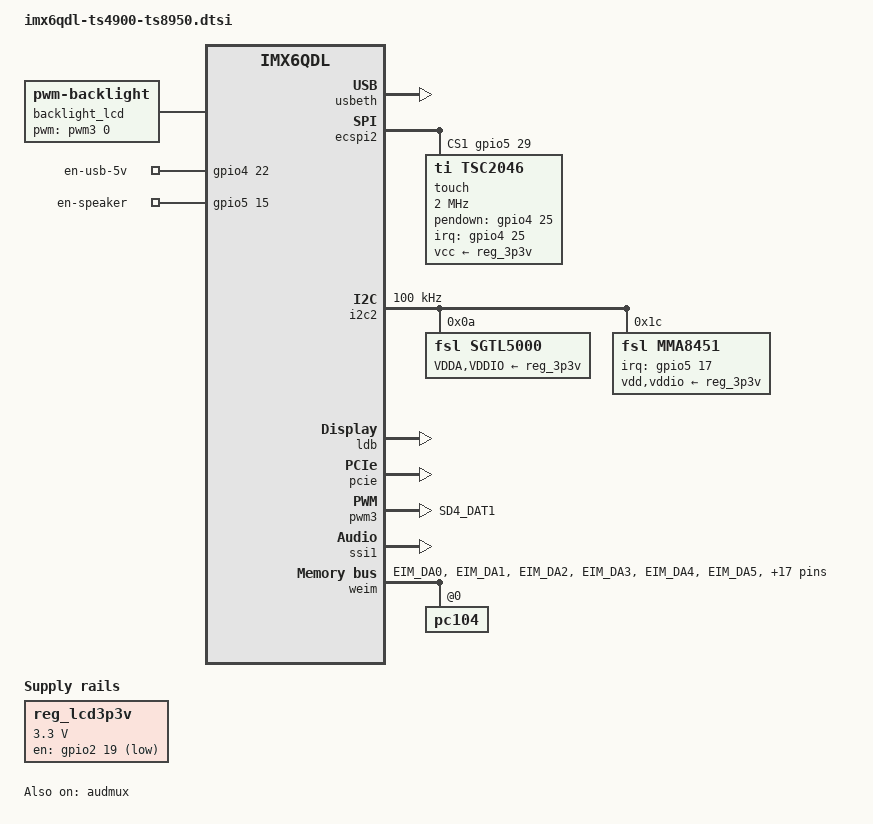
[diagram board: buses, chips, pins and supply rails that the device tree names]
/*
 * Copyright 2017 Technologic Systems
 *
 * This file is dual-licensed: you can use it either under the terms
 * of the GPL or the X11 license, at your option. Note that this dual
 * licensing only applies to this file, and not this project as a
 * whole.
 *
 *  a) This file is free software; you can redistribute it and/or
 *     modify it under the terms of the GNU General Public License
 *     version 2 as published by the Free Software Foundation.
 *
 *     This file is distributed in the hope that it will be useful
 *     but WITHOUT ANY WARRANTY; without even the implied warranty of
 *     MERCHANTABILITY or FITNESS FOR A PARTICULAR PURPOSE.  See the
 *     GNU General Public License for more details.
 *
 * Or, alternatively
 *
 *  b) Permission is hereby granted, free of charge, to any person
 *     obtaining a copy of this software and associated documentation
 *     files (the "Software"), to deal in the Software without
 *     restriction, including without limitation the rights to use
 *     copy, modify, merge, publish, distribute, sublicense, and/or
 *     sell copies of the Software, and to permit persons to whom the
 *     Software is furnished to do so, subject to the following
 *     conditions:
 *
 *     The above copyright notice and this permission notice shall be
 *     included in all copies or substantial portions of the Software.
 *
 *     THE SOFTWARE IS PROVIDED , WITHOUT WARRANTY OF ANY KIND
 *     EXPRESS OR IMPLIED, INCLUDING BUT NOT LIMITED TO THE WARRANTIES
 *     OF MERCHANTABILITY, FITNESS FOR A PARTICULAR PURPOSE AND
 *     NONINFRINGEMENT. IN NO EVENT SHALL THE AUTHORS OR COPYRIGHT
 *     HOLDERS BE LIABLE FOR ANY CLAIM, DAMAGES OR OTHER LIABILITY
 *     WHETHER IN AN ACTION OF CONTRACT, TORT OR OTHERWISE, ARISING
 *     FROM, OUT OF OR IN CONNECTION WITH THE SOFTWARE OR THE USE OR
 *     OTHER DEALINGS IN THE SOFTWARE.
 */

#include "imx6qdl-ts4900.dtsi"
#include <dt-bindings/interrupt-controller/irq.h>

/ {
	aliases {
		ethernet0 = &fec;
		ethernet1 = &usbeth;
		mxcfb0 = &mxcfb0;
	};

	backlight_lcd {
		compatible = "pwm-backlight";
		pwms = <&pwm3 0 5000000>;
		brightness-levels = <0 128 140 160 180 200 220 240 255>;
		default-brightness-level = <8>;
	};

	leds {
		compatible = "gpio-leds";

		/* These are intended as userspace controlled IO.  In this
		 * kernel version LEDs are the best interface I can find to 
		 * allow both userspace control and a default value.
		 */
		en-usb-5v {
			label = "en-usb-5v";
			gpios = <&gpio4 22 0>;
			default-state = "on";
		};

		en-speaker {
			label = "en-speaker";
			gpios = <&gpio5 15 0>;
			default-state = "on";
		};
	};

	mxcfb0: fb@0 {
		compatible = "fsl,mxc_sdc_fb";
		disp_dev = "ldb";
		interface_pix_fmt = "RGB666";
		default_bpp = <16>;
		int_clk = <0>;
		late_init = <0>;
		status = "okay";
	};

	regulators {
		compatible = "simple-bus";

		reg_lcd3p3v: lcd3p3v {
			compatible = "regulator-fixed";
			pinctrl-names = "default";
			pinctrl-0 = <&pinctrl_lcd3p3v>;
			regulator-name = "LCD3P3V";
			regulator-min-microvolt = <3300000>;
			regulator-max-microvolt = <3300000>;
			gpio = <&gpio2 19 0>;
			regulator-boot-on;
			startup-delay-us = <60000>;
		};
	};

	sound {
		audio-codec = <&sgtl5000>;
		audio-routing =
			"MIC_IN", "Mic Jack",
			"Mic Jack", "Mic Bias",
			"Headphone Jack", "HP_OUT";
		compatible = "fsl,imx-audio-sgtl5000";
		model = "On-board Codec";
		mux-ext-port = <3>;
		mux-int-port = <1>;
		ssi-controller = <&ssi1>;
	};

	usbeth: smsc95xx {
		status = "okay";
	};
};

&audmux {
	status = "okay";
};

&ecspi2 {
	fsl,spi-num-chipselects = <2>;
	cs-gpios = <&gpio6 2 0>, <&gpio5 29 0>;
	pinctrl-names = "default";
	pinctrl-0 = <&pinctrl_ecspi2>;
	status = "okay";

	touch: tsc2046@1 {
		compatible = "ti,tsc2046";
		reg = <1>;
		interrupt-parent = <&gpio4>;
		interrupts = <25 IRQ_TYPE_EDGE_FALLING>;
		vcc-supply = <&reg_3p3v>;
		spi-max-frequency = <2000000>;
		pendown-gpio = <&gpio4 25 0>;
		ti,penirq-recheck-delay-usecs = /bits/ 16 <5000>;
		ti,vref-mv = <3300>;
		ti,swap-xy;
		ti,keep-vref-on;
		ti,settle-delay-usec = /bits/ 16 <5000>;
		ti,vref-delay-usecs = /bits/ 16 <0>;
		ti,x-plate-ohms = /bits/ 16 <715>;
		ti,y-plate-ohms = /bits/ 16 <325>;
		ti,debounce-rep = /bits/ 16 <3>;
		ti,debounce-tol = /bits/ 16 <65535>;
		ti,debounce-max = /bits/ 16 <0>;
		ti,pressure-max = /bits/ 16 <15000>;
		ti,pendown-gpio-debounce = <100000>;
		linux,wakeup;
	};
};

&i2c2 {
	status = "okay";
	clock-frequency = <100000>;
	pinctrl-names = "default";
	pinctrl-0 = <&pinctrl_i2c2>;

	sgtl5000: sgtl5000@0a {
		compatible = "fsl,sgtl5000";
		pinctrl-names = "default";
		pinctrl-0 = <&pinctrl_sgtl5000>;
		reg = <0x0a>;
		clocks = <&clks 201>;
		VDDA-supply = <&reg_3p3v>;
		VDDIO-supply = <&reg_3p3v>;
	};

	mma8451@1c {
		compatible = "fsl,mma8451";
		reg = <0x1c>;
		position = <0>;
		vdd-supply = <&reg_3p3v>;
		vddio-supply = <&reg_3p3v>;
		interrupt-parent = <&gpio5>;
		interrupts = <17 8>;
		interrupt-route = <1>;
	};
};

&ldb {
	status = "okay";

	lvds-channel@0 {
		fsl,data-mapping = "spwg";
		fsl,data-width = <18>;
		status = "okay";
		primary;
		crtc = "ipu1-di0";

		display-timings {
			native-mode = <&timing0>;
			timing0: hantronix-svga1 {
				clock-frequency = <40000000>;
				hactive = <800>;
				vactive = <600>;
				hback-porch = <46>;
				hfront-porch = <210>;
				vback-porch = <23>;
				vfront-porch = <12>;
				hsync-len = <20>;
				vsync-len = <10>;
				de-active = <1>;
				hsync-active = <1>;
				vsync-active = <1>;
				pixelclk-active = <0>;
			};
		};
	};
};

&iomuxc {
	pinctrl-names = "default";
	pinctrl-0 = <&pinctrl_misc>;

	imx6-ts4900 {
		pinctrl_ecspi2_touch: ecspi2 {
			fsl,pins = <
				MX6QDL_PAD_CSI0_DAT8__ECSPI2_SCLK      0x100b1
				MX6QDL_PAD_CSI0_DAT9__ECSPI2_MOSI      0x100b1
				MX6QDL_PAD_CSI0_DAT10__ECSPI2_MISO     0x100b1
				MX6QDL_PAD_CSI0_DAT11__GPIO5_IO29      0x100b1   // Offboard CS0#
				MX6QDL_PAD_CSI0_DAT16__GPIO6_IO02      0x100b1   // FPGA CS1#
				MX6QDL_PAD_CSI0_VSYNC__GPIO5_IO21      0x1b088 // FPGA_RESET#
				MX6QDL_PAD_CSI0_DATA_EN__GPIO5_IO20    0x1b088 // FPGA_DONE
				MX6QDL_PAD_GPIO_3__XTALOSC_REF_CLK_24M 0x10    // FPGA 24MHZ
				MX6QDL_PAD_GPIO_4__GPIO1_IO04          0x1b088 // FPGA_IRQ
				MX6QDL_PAD_DISP0_DAT4__GPIO4_IO25      0x1b088 // TOUCH_WAKE#
			>;
		};

		pinctrl_pwm3: pwm3grp {
			fsl,pins = <
				MX6QDL_PAD_SD4_DAT1__PWM3_OUT 0x1b088
			>;
		};

		pinctrl_lcd3p3v: lcdreggrp {
			fsl,pins = <
				MX6QDL_PAD_EIM_A19__GPIO2_IO19         0x1b088 // EN_LCD_3.3V
			>;
		};

		pinctrl_sgtl5000: sgtl5000grp {
			fsl,pins = <
				MX6QDL_PAD_CSI0_DAT7__AUD3_RXD  0x130b0
				MX6QDL_PAD_CSI0_DAT4__AUD3_TXC  0x130b0
				MX6QDL_PAD_CSI0_DAT5__AUD3_TXD  0x110b0
				MX6QDL_PAD_CSI0_DAT6__AUD3_TXFS 0x130b0
				MX6QDL_PAD_GPIO_0__CCM_CLKO1    0x130b0    // Audio CLK
			>;
		};

		pinctrl_eim: eim {
			fsl,pins = <
				MX6QDL_PAD_EIM_DA0__EIM_AD00           0x1b088 // MUX_AD_00
				MX6QDL_PAD_EIM_DA1__EIM_AD01           0x1b088 // MUX_AD_01
				MX6QDL_PAD_EIM_DA2__EIM_AD02           0x1b088 // MUX_AD_02
				MX6QDL_PAD_EIM_DA3__EIM_AD03           0x1b088 // MUX_AD_03
				MX6QDL_PAD_EIM_DA4__EIM_AD04           0x1b088 // MUX_AD_04
				MX6QDL_PAD_EIM_DA5__EIM_AD05           0x1b088 // MUX_AD_05
				MX6QDL_PAD_EIM_DA6__EIM_AD06           0x1b088 // MUX_AD_06
				MX6QDL_PAD_EIM_DA7__EIM_AD07           0x1b088 // MUX_AD_07
				MX6QDL_PAD_EIM_DA8__EIM_AD08           0x1b088 // MUX_AD_08
				MX6QDL_PAD_EIM_DA9__EIM_AD09           0x1b088 // MUX_AD_09
				MX6QDL_PAD_EIM_DA10__EIM_AD10          0x1b088 // MUX_AD_10
				MX6QDL_PAD_EIM_DA11__EIM_AD11          0x1b088 // MUX_AD_11
				MX6QDL_PAD_EIM_DA12__EIM_AD12          0x1b088 // MUX_AD_12
				MX6QDL_PAD_EIM_DA13__EIM_AD13          0x1b088 // MUX_AD_13
				MX6QDL_PAD_EIM_DA14__EIM_AD14          0x1b088 // MUX_AD_14
				MX6QDL_PAD_EIM_DA15__EIM_AD15          0x1b088 // MUX_AD_15
				MX6QDL_PAD_EIM_A16__EIM_ADDR16         0x1b088 // MX6_A16
				MX6QDL_PAD_EIM_LBA__EIM_LBA_B          0x1b088 // BUS_ALE#
				MX6QDL_PAD_EIM_RW__EIM_RW              0x1b088 // BUS_DIR
				MX6QDL_PAD_EIM_CS0__EIM_CS0_B          0x1b088 // BUS_CS#
				MX6QDL_PAD_EIM_WAIT__EIM_DTACK_B       0x1b088 // BUS_WAIT#
				MX6QDL_PAD_EIM_D31__GPIO3_IO31         0x1b088 // D31/GPIO
				MX6QDL_PAD_EIM_EB1__EIM_EB1_B          0x1b088 // BUS_BHE#
			>;
		};

		pinctrl_misc: misc {
			fsl,pins = <
				MX6QDL_PAD_DISP0_DAT1__GPIO4_IO22      0x1b088 // EN_USB_5V
				MX6QDL_PAD_EIM_A17__GPIO2_IO21         0x1b088 // OFF_BD_RESET#

				MX6QDL_PAD_DISP0_DAT8__GPIO4_IO29      0x1b088 // R130 (Opt res)
				MX6QDL_PAD_DISP0_DAT9__GPIO4_IO30      0x1b088 // DIO_7
				MX6QDL_PAD_DISP0_DAT10__GPIO4_IO31     0x1b088 // DIO_8
				MX6QDL_PAD_DISP0_DAT11__GPIO5_IO05     0x1b088 // DIO_9
				MX6QDL_PAD_DISP0_DAT12__GPIO5_IO06     0x1b088 // DIO_10
				MX6QDL_PAD_DISP0_DAT13__GPIO5_IO07     0x1b088 // DIO_11
				MX6QDL_PAD_DISP0_DAT14__GPIO5_IO08     0x1b088 // DIO_12
				MX6QDL_PAD_DISP0_DAT15__GPIO5_IO09     0x1b088 // IRQ9
				MX6QDL_PAD_DISP0_DAT16__GPIO5_IO10     0x1b088 // PUSH_SW_2#
				MX6QDL_PAD_DISP0_DAT17__GPIO5_IO11     0x1b088 // GPS_PPS
				MX6QDL_PAD_DISP0_DAT18__GPIO5_IO12     0x1b088 // i.MX6_CS2#
				MX6QDL_PAD_DISP0_DAT19__GPIO5_IO13     0x1b088 // USER_JMP_1#
				MX6QDL_PAD_DISP0_DAT20__GPIO5_IO14     0x1b088 // SPARE_2
				MX6QDL_PAD_DI0_DISP_CLK__GPIO4_IO16    0x1b088 // PUSH_SW_1#
				MX6QDL_PAD_DI0_PIN2__GPIO4_IO18        0x1b088 // PCIE_SEL#
				MX6QDL_PAD_DI0_PIN3__GPIO4_IO19        0x1b088 // R131 (OPT RES)
				MX6QDL_PAD_DI0_PIN15__GPIO4_IO17       0x1b088 // R132 (OPT RES)
				MX6QDL_PAD_EIM_OE__GPIO2_IO25          0x1b088 // BD_ID_DATA
				MX6QDL_PAD_EIM_A20__GPIO2_IO18         0x1b088 // XBEE_CTS#
				MX6QDL_PAD_EIM_A22__GPIO2_IO16         0x1b088 // IRQ7
				MX6QDL_PAD_EIM_A23__GPIO6_IO06         0x1b088 // IRQ6
				MX6QDL_PAD_EIM_A24__GPIO5_IO04         0x1b088 // IRQ5
				MX6QDL_PAD_DISP0_DAT1__GPIO4_IO22      0x1b088 // EN_USB_5V
				MX6QDL_PAD_DISP0_DAT2__GPIO4_IO23      0x1b088 // SPARE_1
				MX6QDL_PAD_DISP0_DAT3__GPIO4_IO24      0x1b088 // EN_GPS_3.3V#
				MX6QDL_PAD_DISP0_DAT6__GPIO4_IO27      0x1b088 // SPI_CS2#
				MX6QDL_PAD_DISP0_DAT7__GPIO4_IO28      0x1b088 // PWR_FAIL#
				MX6QDL_PAD_DISP0_DAT21__GPIO5_IO15     0x1b088 // EN_SPKR
				MX6QDL_PAD_DISP0_DAT22__GPIO5_IO16     0x1b088 // CAN_EN#
				MX6QDL_PAD_DISP0_DAT23__GPIO5_IO17     0x1b088 // ACCEL_INT
			>;
		};
	};
};

&pcie {
	status = "okay";
};

&pwm3 {
	pinctrl-names = "default";
	pinctrl-0 = <&pinctrl_pwm3>;
	status = "okay";
};

&ssi1 {
	fsl,mode = "i2s-slave";
	status = "okay";
};

&weim {
	status = "okay";
	#address-cells = <2>;
	#size-cells = <1>;
	pinctrl-names = "default";
	pinctrl-0 = <&pinctrl_eim>;

	pc104@0,0 {
		reg = <0 0 0x02000000>;
		#address-cells = <1>;
		#size-cells = <1>;
		bank-width = <2>;
		//   EIM_CS0GCR1, EIM_CS0GCR2, EIM_CS0RCR1,
		// EIM_CS0RCR2, EIM_CS0WCR1, EIM_CS0WCR2
		fsl,weim-cs-timing = <0x00710089 0x000011F2 0x1C022000
							  0x00000000 0x1C092480 0x00000000>;
	};
};
